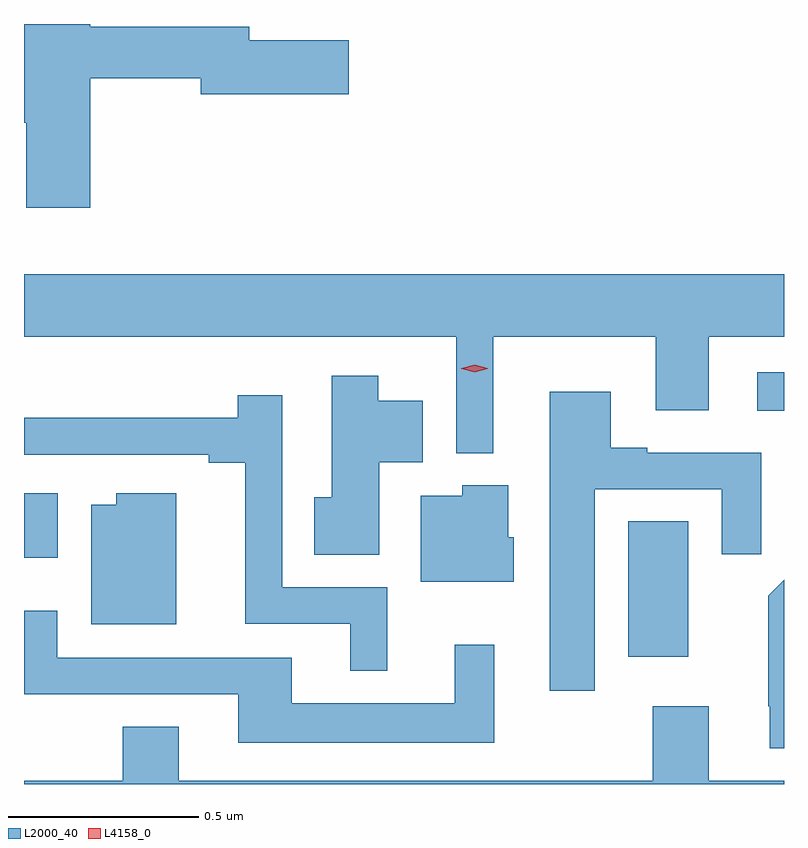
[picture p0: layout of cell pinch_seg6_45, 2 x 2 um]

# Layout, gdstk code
import gdstk
lib = gdstk.Library(unit=1e-6, precision=1e-09)
def R(c, l, rs):  # rectangles x0, y0, x1, y1
    for r in rs: c.add(gdstk.rectangle(r[:2], r[2:], *l))
def P(c, l, *ps):  # polygons
    for p in ps: c.add(gdstk.Polygon(p, *l))
L2000_40 = (2000, 40)
L4158_0 = (4158, 0)

pinch_seg6_45 = lib.new_cell('pinch_seg6_45')
R(pinch_seg6_45, L2000_40, [(906.839,989.118,906.997,989.474), (905.249,989.378,905.338,989.548), (907.179,989.765,907.249,989.866)])
P(pinch_seg6_45, L2000_40, [(905.423,990.64),(905.714,990.64),(905.714,990.598),(906.103,990.598),(906.103,990.74),(905.842,990.74),(905.842,990.776),(905.423,990.776),(905.423,990.783),(905.249,990.783),(905.249,990.523),(905.255,990.523),(905.255,990.3),(905.423,990.3)],
  [(906.484,989.96),(906.911,989.96),(906.911,989.766),(907.051,989.766),(907.051,989.96),(907.249,989.96),(907.249,990.124),(905.249,990.124),(905.249,989.96),(906.387,989.96),(906.387,989.654),(906.484,989.654)],
  [(906.184,989.63),(906.298,989.63),(906.298,989.791),(906.181,989.791),(906.181,989.857),(906.059,989.857),(906.059,989.538),(906.013,989.538),(906.013,989.386),(906.184,989.386)],
  [(906.751,989.559),(907.085,989.559),(907.085,989.388),(907.189,989.388),(907.189,989.655),(906.889,989.655),(906.889,989.668),(906.793,989.668),(906.793,989.815),(906.632,989.815),(906.632,989.028),(906.751,989.028)],
  [(906.205,989.301),(905.928,989.301),(905.928,989.806),(905.812,989.806),(905.812,989.747),(905.249,989.747),(905.249,989.649),(905.735,989.649),(905.735,989.629),(905.831,989.629),(905.831,989.205),(906.107,989.205),(906.107,989.081),(906.205,989.081)],
  [(906.538,989.433),(906.523,989.433),(906.523,989.569),(906.402,989.569),(906.402,989.542),(906.293,989.542),(906.293,989.315),(906.538,989.315)],
  [(905.65,989.548),(905.492,989.548),(905.492,989.518),(905.426,989.518),(905.426,989.204),(905.65,989.204)],
  [(907.249,989.32),(907.208,989.279),(907.208,988.987),(907.211,988.987),(907.211,988.877),(907.249,988.877)],
  [(906.487,989.149),(906.383,989.149),(906.383,988.996),(905.953,988.996),(905.953,989.115),(905.337,989.115),(905.337,989.239),(905.249,989.239),(905.249,989.019),(905.813,989.019),(905.813,988.892),(906.487,988.892)],
  [(907.249,988.792),(907.051,988.792),(907.051,988.987),(906.904,988.987),(906.904,988.792),(905.656,988.792),(905.656,988.934),(905.509,988.934),(905.509,988.792),(905.249,988.792),(905.249,988.783),(907.249,988.783)])
P(pinch_seg6_45, L4158_0, [(906.435,989.866),(906.4,989.876),(906.4,989.876),(906.4,989.877),(906.435,989.886),(906.47,989.877),(906.47,989.876),(906.47,989.876)])

lib.write_gds('pinch_seg6_45.gds')
